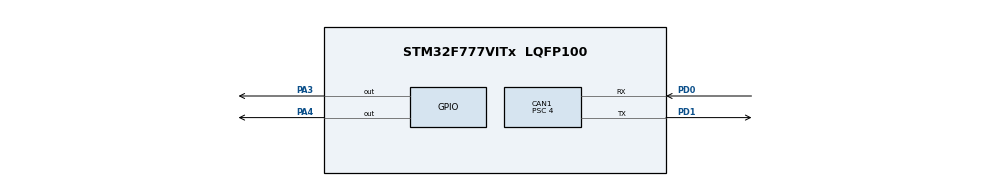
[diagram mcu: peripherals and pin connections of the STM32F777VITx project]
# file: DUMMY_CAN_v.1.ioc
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CAN1.BS1=CAN_BS1_2TQ
CAN1.CalculateBaudRate=500000
CAN1.CalculateTimeBit=2000
CAN1.CalculateTimeQuantum=500.0
CAN1.Prescaler=4
CORTEX_M7.default_mode_Activation=1
Mcu.Family=STM32F7
Mcu.Name=STM32F777VITx
Mcu.Package=LQFP100
NVIC.CAN1_RX0_IRQn=true\:0\:0\:false\:false\:true\:true\:true\:true
NVIC.PriorityGroup=NVIC_PRIORITYGROUP_4
PA13.Mode=Serial_Wire
PA13.Signal=SYS_JTMS-SWDIO
PA14.Mode=Serial_Wire
PA14.Signal=SYS_JTCK-SWCLK
PA3.Signal=GPIO_Output
PA4.Signal=GPIO_Output
PD0.Mode=CAN_Activate
PD0.Signal=CAN1_RX
PD1.Mode=CAN_Activate
PD1.Signal=CAN1_TX
ProjectManager.HeapSize=0x200
ProjectManager.StackSize=0x400
ProjectManager.TargetToolchain=STM32CubeIDE
RCC.APB1CLKDivider=RCC_HCLK_DIV2
RCC.APB1Freq_Value=8000000
RCC.APB1TimFreq_Value=16000000
RCC.HSE_VALUE=25000000
RCC.HSI_VALUE=16000000
RCC.LSE_VALUE=32768
RCC.USBFreq_Value=96000000
RCC.VCOOutputFreq_Value=192000000
board=custom

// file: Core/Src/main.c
/* USER CODE BEGIN Header */
/**
  ******************************************************************************
  * @file           : main.c
  * @brief          : Main program body
  ******************************************************************************
  * @attention
  *
  * Copyright (c) 2024 STMicroelectronics.
  * All rights reserved.
  *
  * This software is licensed under terms that can be found in the LICENSE file
  * in the root directory of this software component.
  * If no LICENSE file comes with this software, it is provided AS-IS.
  *
  ******************************************************************************
  */
/* USER CODE END Header */
#include "main.h"

/* USER CODE BEGIN PD */

CAN_RxHeaderTypeDef 	RxHeader; 					//CAN Bus Transmit Header
CAN_TxHeaderTypeDef 	TxHeader; 					//CAN Bus Receive Header
uint8_t 				TxData[8];  				//CAN Bus Receive Buffer
uint8_t 				RxData[8];  				//CAN Bus Receive Buffer
CAN_FilterTypeDef 		canfil; 					//CAN Bus Filter
uint32_t 				TxMailbox; 					//CAN Bus Mail box variable.

/* USER CODE END PD */

CAN_HandleTypeDef hcan1;

void SystemClock_Config(void);
static void MPU_Config(void);
static void MX_GPIO_Init(void);
static void MX_CAN1_Init(void);

int main(void)
{

  /* USER CODE BEGIN 1 */

	void message_cantx_AIR_State(CAN_HandleTypeDef *hcan, int CAN_ID, int CAN_REMOTE_DATA, char AIRs_State, uint8_t *TxData, CAN_TxHeaderTypeDef TxHeader){

		TxHeader.DLC = 1; 									//Number of bites to be transmitted max- 8. DLC: Data Length Code
		TxHeader.IDE = CAN_ID;							    //IDE: Identifier Extension. ID_STD: Standard Identifier. Dominant(0) = 11 bit ID, Recessive(1) = 29 bit ID
		TxHeader.RTR = CAN_REMOTE_DATA;						//RTR: Remote Transmission Request, Dominant(0) = Data frame, Recessive (1) = Remote Frame. Type of trace
		TxHeader.StdId = 0x91;								//Standard identifier ID
		TxHeader.TransmitGlobalTime = DISABLE;				//A temporal mark in the CAN message is not added
		TxData[0] = AIRs_State;								//Sent data. The TxData is the buffer where the data is saved
		}

  /* USER CODE END 1 */

  /* MPU Configuration--------------------------------------------------------*/
  MPU_Config();

  /* MCU Configuration--------------------------------------------------------*/

  /* Reset of all peripherals, Initializes the Flash interface and the Systick. */
  HAL_Init();

  /* Configure the system clock */
  SystemClock_Config();

  /* Initialize all configured peripherals */
  MX_GPIO_Init();
  MX_CAN1_Init();

  /* Infinite loop */
  while (1)
  {

    /* USER CODE BEGIN 3 */

	message_cantx_AIR_State(&hcan1, 0, 0, 1, *TxData[8], TxHeader);
	HAL_GPIO_TogglePin(GPIOA, GPIO_PIN_4);
	HAL_GPIO_TogglePin(GPIOA, GPIO_PIN_3);
	HAL_Delay(500);

  }
  /* USER CODE END 3 */
}

void SystemClock_Config(void)
{
  RCC_OscInitTypeDef RCC_OscInitStruct = {0};
  RCC_ClkInitTypeDef RCC_ClkInitStruct = {0};

  /** Configure the main internal regulator output voltage
  */
  __HAL_RCC_PWR_CLK_ENABLE();
  __HAL_PWR_VOLTAGESCALING_CONFIG(PWR_REGULATOR_VOLTAGE_SCALE3);

  /** Initializes the RCC Oscillators according to the specified parameters
  * in the RCC_OscInitTypeDef structure.
  */
  RCC_OscInitStruct.OscillatorType = RCC_OSCILLATORTYPE_HSI;
  RCC_OscInitStruct.HSIState = RCC_HSI_ON;
  RCC_OscInitStruct.HSICalibrationValue = RCC_HSICALIBRATION_DEFAULT;
  RCC_OscInitStruct.PLL.PLLState = RCC_PLL_NONE;
  if (HAL_RCC_OscConfig(&RCC_OscInitStruct) != HAL_OK)
  {
    Error_Handler();
  }

  /** Initializes the CPU, AHB and APB buses clocks
  */
  RCC_ClkInitStruct.ClockType = RCC_CLOCKTYPE_HCLK|RCC_CLOCKTYPE_SYSCLK
                              |RCC_CLOCKTYPE_PCLK1|RCC_CLOCKTYPE_PCLK2;
  RCC_ClkInitStruct.SYSCLKSource = RCC_SYSCLKSOURCE_HSI;
  RCC_ClkInitStruct.AHBCLKDivider = RCC_SYSCLK_DIV1;
  RCC_ClkInitStruct.APB1CLKDivider = RCC_HCLK_DIV2;
  RCC_ClkInitStruct.APB2CLKDivider = RCC_HCLK_DIV1;

  if (HAL_RCC_ClockConfig(&RCC_ClkInitStruct, FLASH_LATENCY_0) != HAL_OK)
  {
    Error_Handler();
  }
}

static void MX_CAN1_Init(void)
{

  hcan1.Instance = CAN1;
  hcan1.Init.Prescaler = 4;
  hcan1.Init.Mode = CAN_MODE_NORMAL;
  hcan1.Init.SyncJumpWidth = CAN_SJW_1TQ;
  hcan1.Init.TimeSeg1 = CAN_BS1_2TQ;
  hcan1.Init.TimeSeg2 = CAN_BS2_1TQ;
  hcan1.Init.TimeTriggeredMode = DISABLE;
  hcan1.Init.AutoBusOff = DISABLE;
  hcan1.Init.AutoWakeUp = DISABLE;
  hcan1.Init.AutoRetransmission = DISABLE;
  hcan1.Init.ReceiveFifoLocked = DISABLE;
  hcan1.Init.TransmitFifoPriority = DISABLE;
  if (HAL_CAN_Init(&hcan1) != HAL_OK)
  {
    Error_Handler();
  }

}

static void MX_GPIO_Init(void)
{
  GPIO_InitTypeDef GPIO_InitStruct = {0};

  /* GPIO Ports Clock Enable */
  __HAL_RCC_GPIOA_CLK_ENABLE();
  __HAL_RCC_GPIOD_CLK_ENABLE();

  /*Configure GPIO pin Output Level */
  HAL_GPIO_WritePin(GPIOA, GPIO_PIN_3|GPIO_PIN_4, GPIO_PIN_RESET);

  /*Configure GPIO pins : PA3 PA4 */
  GPIO_InitStruct.Pin = GPIO_PIN_3|GPIO_PIN_4;
  GPIO_InitStruct.Mode = GPIO_MODE_OUTPUT_PP;
  GPIO_InitStruct.Pull = GPIO_NOPULL;
  GPIO_InitStruct.Speed = GPIO_SPEED_FREQ_LOW;
  HAL_GPIO_Init(GPIOA, &GPIO_InitStruct);

}

 /* MPU Configuration */

void MPU_Config(void)
{
  MPU_Region_InitTypeDef MPU_InitStruct = {0};

  /* Disables the MPU */
  HAL_MPU_Disable();

  /** Initializes and configures the Region and the memory to be protected
  */
  MPU_InitStruct.Enable = MPU_REGION_ENABLE;
  MPU_InitStruct.Number = MPU_REGION_NUMBER0;
  MPU_InitStruct.BaseAddress = 0x0;
  MPU_InitStruct.Size = MPU_REGION_SIZE_4GB;
  MPU_InitStruct.SubRegionDisable = 0x87;
  MPU_InitStruct.TypeExtField = MPU_TEX_LEVEL0;
  MPU_InitStruct.AccessPermission = MPU_REGION_NO_ACCESS;
  MPU_InitStruct.DisableExec = MPU_INSTRUCTION_ACCESS_DISABLE;
  MPU_InitStruct.IsShareable = MPU_ACCESS_SHAREABLE;
  MPU_InitStruct.IsCacheable = MPU_ACCESS_NOT_CACHEABLE;
  MPU_InitStruct.IsBufferable = MPU_ACCESS_NOT_BUFFERABLE;

  HAL_MPU_ConfigRegion(&MPU_InitStruct);
  /* Enables the MPU */
  HAL_MPU_Enable(MPU_PRIVILEGED_DEFAULT);

}

void Error_Handler(void)
{
  __disable_irq();
  while (1)
  {
  }
}
